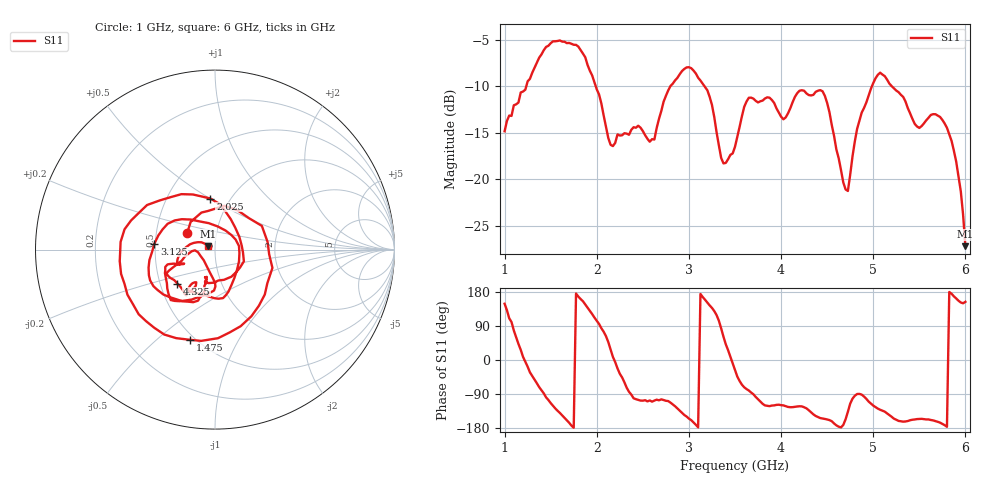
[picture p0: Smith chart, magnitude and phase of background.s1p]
! SOL-corrected complex mean; no background subtraction; no window
# Hz S RI R 50
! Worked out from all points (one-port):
!   201 points, 1 GHz to 6 GHz, reference 50 ohm
!   lowest |S11| = -27.2 dB at 6 GHz (marker M1), VSWR 1.09, Z = 46.2 + j1.8 ohm
!   |S11| at or under -10 dB: 1.988 GHz to 2.799 GHz (810.3 MHz wide, 33.9 % of centre); 3.169 GHz to 4.986 GHz (1.818 GHz wide, 44.6 % of centre); 5.201 GHz to end of sweep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
!   S11 on the Smith chart (normalised r, x): 1 GHz: 0.72, +0.14; 1.475 GHz: 0.47, -0.65; 2.025 GHz: 0.81, +0.50; 3.125 GHz: 0.49, +0.04; 4.325 GHz: 0.61, -0.25; 6 GHz: 0.92, +0.04
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1e9  -0.1541 0.0947
1.1e9  0.0523 0.2441
1.25e9  0.32 -0.102
1.375e9  0.143 -0.4267
1.475e9  -0.14 -0.5026
1.625e9  -0.456 -0.3061
1.8e9  -0.5039 0.1135
2.025e9  -0.0253 0.2842
2.15e9  0.1359 0.0703
2.25e9  0.1383 -0.1016
2.625e9  -0.048 -0.156
2.875e9  -0.215 -0.2769
3.125e9  -0.3374 0.0336
3.375e9  0.0582 0.1066
3.5e9  0.1337 -0.0661
3.65e9  0.045 -0.2701
3.825e9  -0.1352 -0.2353
4.125e9  -0.1466 -0.2137
4.325e9  -0.2092 -0.189
4.475e9  -0.2554 -0.1162
4.675e9  -0.0948 -0.0143
4.75e9  -0.0449 -0.0956
4.875e9  -0.00548 -0.2279
5.05e9  -0.2258 -0.2857
5.375e9  -0.2281 -0.0782
5.8e9  -0.1884 -0.0122
5.925e9  -0.0949 0.0413
6e9  -0.039 0.0194
